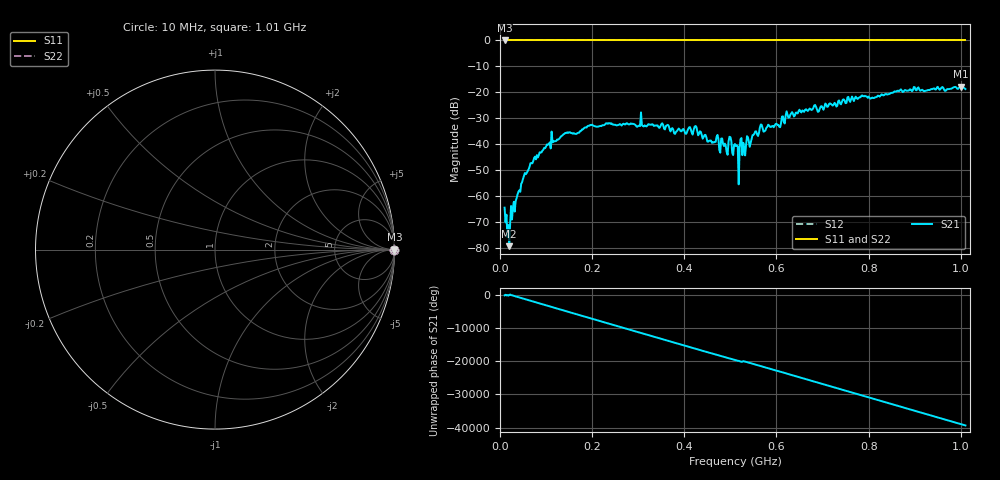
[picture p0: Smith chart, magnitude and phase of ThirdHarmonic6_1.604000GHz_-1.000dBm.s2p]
! 8/16/2025 7:07:58 PM
! C:\ANRITSUVNA\TEMP\TEMP.S2P
! CHANNEL.1
! TR.MEASUREMENT
! RAW.DATA
! RF.CORRECTION.OFF
! AVERAGING.OFF
! IF.BANDWIDTH: 5KHZ
! SWEEPTYPE:  FREQ.SWEEP(Linear)
! Reference Plane Port Info
! PORT:  PORT1  PORT2
! DISTANCE:  0  m  0  m
! TIME:  0  s  0  s
! PHASE.OFFSET:  0  deg.  0  deg.
! LOSS:  0  dB  0  dB
! REF.LOSS:  0  dB  0  dB
! REF.FREQ:  0  Hz  0  Hz
! Power Info
! POWER:  -20  dBm  -20  dBm
! EFF.POWER:  -20  dBm  -20  dBm
! SOURCE.ATTEN:  0  dB  0  dB
! TEST.ATTEN:  0  dB  0  dB
# GHZ S RI R 50.0
! FREQ.GHZ  S11RE  S11IM  S21RE  S21IM  S12RE  S12IM  S22RE  S22IM
!; PortSelection: Port_12
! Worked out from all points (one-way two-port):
!   501 points, 10 MHz to 1.01 GHz, reference 50 ohm
!   highest |S21| = -17.83 dB at 1 GHz (marker M1); lowest = -79.2 dB at 20 MHz (marker M2)
!   lowest |S11| = 0.0 dB at 10 MHz (marker M3)
!   |S11| at or under -10 dB: nowhere
!   |S22| runs from 0.0 to 0.0 dB; largest |S21 - S12| = 1.1
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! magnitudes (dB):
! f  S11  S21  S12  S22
! 10 MHz  0.0  -64.4  0.0  0.0
! 16 MHz  0.0  -75.7  0.0  0.0
! 20 MHz  0.0  -79.2  0.0  0.0
! 26 MHz  0.0  -68.9  0.0  0.0
! 50 MHz  0.0  -53.2  0.0  0.0
! 72 MHz  0.0  -46.5  0.0  0.0
! 116 MHz  0.0  -38.7  0.0  0.0
! 178 MHz  0.0  -34.2  0.0  0.0
! 234 MHz  0.0  -32.1  0.0  0.0
! 344 MHz  0.0  -33.4  0.0  0.0
! 382 MHz  0.0  -35.2  0.0  0.0
! 424 MHz  0.0  -32.9  0.0  0.0
! 454 MHz  0.0  -38.6  0.0  0.0
! 510 MHz  0.0  -39.9  0.0  0.0
! 522 MHz  0.0  -38.0  0.0  0.0
! 524 MHz  0.0  -37.6  0.0  0.0
! 530 MHz  0.0  -41.4  0.0  0.0
! 566 MHz  0.0  -32.3  0.0  0.0
! 678 MHz  0.0  -26.6  0.0  0.0
! 844 MHz  0.0  -20.6  0.0  0.0
! 1 GHz  0.0  -17.8  0.0  0.0
! 1.01 GHz  0.0  -18.7  0.0  0.0
